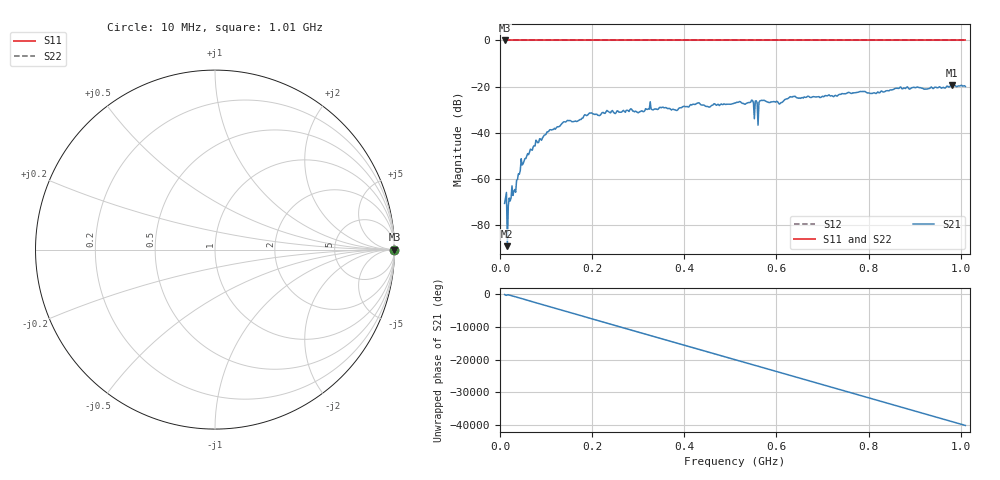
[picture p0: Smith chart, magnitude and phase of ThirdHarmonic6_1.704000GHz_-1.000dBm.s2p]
! 8/16/2025 8:29:21 PM
! C:\ANRITSUVNA\TEMP\TEMP.S2P
! CHANNEL.1
! TR.MEASUREMENT
! RAW.DATA
! RF.CORRECTION.OFF
! AVERAGING.OFF
! IF.BANDWIDTH: 5KHZ
! SWEEPTYPE:  FREQ.SWEEP(Linear)
! Reference Plane Port Info
! PORT:  PORT1  PORT2
! DISTANCE:  0  m  0  m
! TIME:  0  s  0  s
! PHASE.OFFSET:  0  deg.  0  deg.
! LOSS:  0  dB  0  dB
! REF.LOSS:  0  dB  0  dB
! REF.FREQ:  0  Hz  0  Hz
! Power Info
! POWER:  -20  dBm  -20  dBm
! EFF.POWER:  -20  dBm  -20  dBm
! SOURCE.ATTEN:  0  dB  0  dB
! TEST.ATTEN:  0  dB  0  dB
# GHZ S RI R 50.0
! FREQ.GHZ  S11RE  S11IM  S21RE  S21IM  S12RE  S12IM  S22RE  S22IM
!; PortSelection: Port_12
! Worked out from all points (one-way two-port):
!   501 points, 10 MHz to 1.01 GHz, reference 50 ohm
!   highest |S21| = -19.41 dB at 980 MHz (marker M1); lowest = -89.3 dB at 16 MHz (marker M2)
!   lowest |S11| = 0.0 dB at 10 MHz (marker M3)
!   |S11| at or under -10 dB: nowhere
!   |S22| runs from 0.0 to 0.0 dB; largest |S21 - S12| = 1.1
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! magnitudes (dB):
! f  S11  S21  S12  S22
! 10 MHz  0.0  -70.7  0.0  0.0
! 12 MHz  0.0  -68.3  0.0  0.0
! 16 MHz  0.0  -89.3  0.0  0.0
! 20 MHz  0.0  -68.4  0.0  0.0
! 22 MHz  0.0  -69.7  0.0  0.0
! 32 MHz  0.0  -64.7  0.0  0.0
! 50 MHz  0.0  -53.6  0.0  0.0
! 76 MHz  0.0  -45.8  0.0  0.0
! 138 MHz  0.0  -35.3  0.0  0.0
! 178 MHz  0.0  -33.7  0.0  0.0
! 196 MHz  0.0  -31.5  0.0  0.0
! 344 MHz  0.0  -29.7  0.0  0.0
! 510 MHz  0.0  -27.1  0.0  0.0
! 546 MHz  0.0  -25.9  0.0  0.0
! 556 MHz  0.0  -26.2  0.0  0.0
! 568 MHz  0.0  -26.0  0.0  0.0
! 608 MHz  0.0  -27.3  0.0  0.0
! 632 MHz  0.0  -24.5  0.0  0.0
! 678 MHz  0.0  -24.5  0.0  0.0
! 844 MHz  0.0  -21.9  0.0  0.0
! 980 MHz  0.0  -19.4  0.0  0.0
! 1.01 GHz  0.0  -20.0  0.0  0.0
